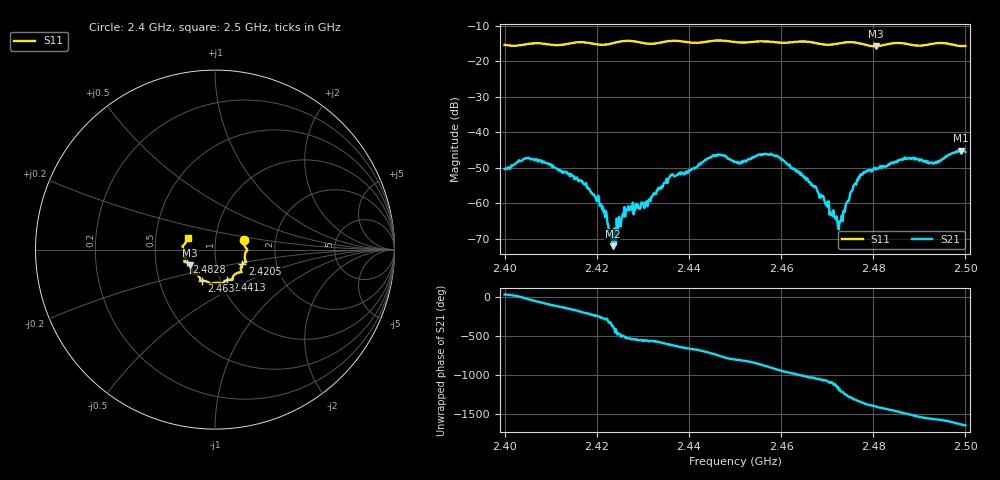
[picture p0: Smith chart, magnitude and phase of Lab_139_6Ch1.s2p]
# Hz S RI R 50
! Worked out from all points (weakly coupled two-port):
!   601 points, 2.4 GHz to 2.5 GHz, reference 50 ohm
!   highest |S21| = -45.13 dB at 2.499 GHz (marker M1); lowest = -72.1 dB at 2.4235 GHz (marker M2)
!   lowest |S11| = -15.7 dB at 2.4805 GHz (marker M3), VSWR 1.39, Z = 37.3 - j6.69 ohm
!   |S11| at or under -10 dB: start of sweep to end of sweep
!   S12 and S22 are empty: the file has one direction only
!   S11 on the Smith chart (normalised r, x): 2.4 GHz: 1.38, +0.15; 2.4205 GHz: 1.34, -0.22; 2.4413 GHz: 1.08, -0.38; 2.463 GHz: 0.82, -0.29; 2.4828 GHz: 0.72, -0.10; 2.5 GHz: 0.73, +0.10
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2.4e9  0.1628 0.0523  0.0025 0.00176  0 0  0 0
2.405e9  0.1758 0.00427  0.00406 -0.00159  0 0  0 0
2.416667e9  0.1734 -0.0696  -0.00204 0.000258  0 0  0 0
2.4205e9  0.1521 -0.0809  -0.00046 0.000978  0 0  0 0
2.4235e9  0.1432 -0.11  0.000246 -4.11e-05  0 0  0 0
2.426333e9  0.1483 -0.1263  -0.000772 -0.000196  0 0  0 0
2.433333e9  0.1003 -0.1513  -0.00143 0.00082  0 0  0 0
2.436167e9  0.0977 -0.1683  -0.000793 0.00236  0 0  0 0
2.441333e9  0.0675 -0.1697  0.00196 0.00242  0 0  0 0
2.446e9  0.0418 -0.1925  0.00438 -0.00149  0 0  0 0
2.45e9  0.0247 -0.1857  0.000692 -0.00377  0 0  0 0
2.458167e9  -0.0318 -0.185  -0.00473 0.00082  0 0  0 0
2.463e9  -0.0721 -0.1736  -0.000348 0.00298  0 0  0 0
2.466667e9  -0.0816 -0.1672  0.00125 0.00138  0 0  0 0
2.472833e9  -0.1252 -0.1301  -0.000289 -0.000487  0 0  0 0
2.477e9  -0.1313 -0.123  -0.000569 0.00221  0 0  0 0
2.4805e9  -0.1383 -0.0872  0.00234 0.00188  0 0  0 0
2.482833e9  -0.1586 -0.0702  0.00334 0.000317  0 0  0 0
2.483333e9  -0.1625 -0.0684  0.00358 -6.95e-05  0 0  0 0
2.493333e9  -0.179 0.0114  -0.0021 -0.00301  0 0  0 0
2.499e9  -0.1572 0.0497  -0.00546 0.000966  0 0  0 0
2.5e9  -0.1521 0.0638  -0.00473 0.00237  0 0  0 0
